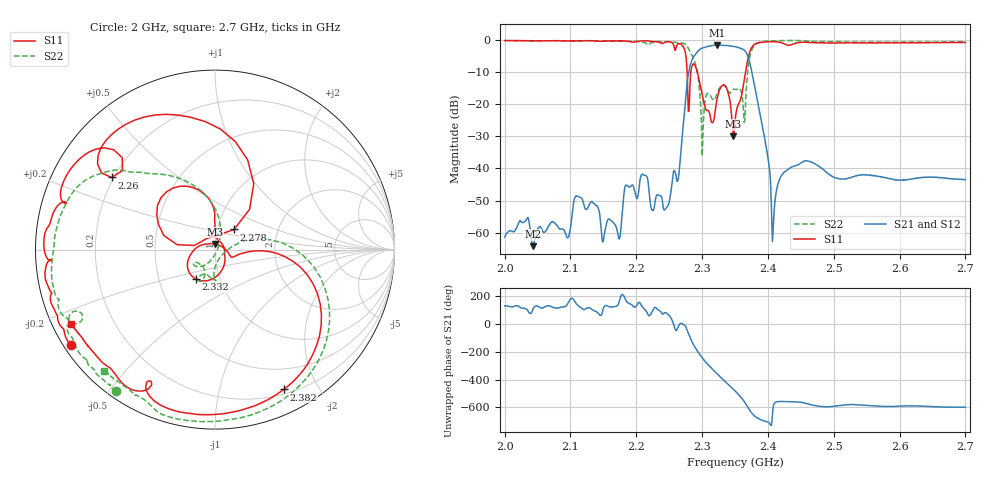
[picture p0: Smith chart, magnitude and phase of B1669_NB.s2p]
! Matrix data file written by TouchstoneData, EPCOS AG
! FILENAME: "LW96C.NB.2.snp"
! COMMENT: "(LW96C.NB.2.s2p)"
! INFO: nport=2, nfreq=801
! DATE: "Thu Dec 16 09:29:09 2010"
! USER: "TengKee Lok"
! port | pin | signal
!  1  |  2  |  input
!  2  |  5  |  output
# MHZ S RI R 50
! freq  reS11 imS11  reS21 imS21  reS12 imS12  reS22 imS22
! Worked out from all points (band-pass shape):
!   801 points, 2 GHz to 2.7 GHz, reference 50 ohm
!   highest |S21| = -1.68 dB at 2.323 GHz (marker M1); lowest = -64.2 dB at 2.043 GHz (marker M2)
!   |S21| within 3 dB of the highest: 2.29 GHz to 2.369 GHz (79.02 MHz wide, 3.39 % of centre)
!   lowest |S11| = -30.0 dB at 2.347 GHz (marker M3), VSWR 1.07, Z = 49.8 + j3.16 ohm
!   |S11| at or under -10 dB: 2.277211 GHz to 2.283003 GHz (5.792 MHz wide, 0.254 % of centre); 2.293 GHz to 2.366 GHz (73.48 MHz wide, 3.15 % of centre)
!   |S22| runs from -36.1 to -0.3 dB; largest |S21 - S12| = 0.0049
!   S11 on the Smith chart (normalised r, x): 2 GHz: 0.02, -0.30; 2.26 GHz: 0.19, +0.30; 2.278 GHz: 1.20, +0.28; 2.332 GHz: 0.77, -0.26; 2.382 GHz: 0.25, -1.58; 2.7 GHz: 0.05, -0.24
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2000  -0.8047 -0.5325  -0.000563 0.000644  -0.00056 0.000638  -0.5501 -0.7893
2042.875  -0.8381 -0.4651  -0.000162 0.000598  -0.000172 0.000594  -0.5882 -0.7531
2117.25  -0.9032 -0.3179  -0.00136 0.00314  -0.00136 0.00314  -0.6809 -0.6596
2150.5  -0.915 -0.236  -0.000401 0.000707  -0.0004 0.000709  -0.7186 -0.6109
2174.125  -0.9467 -0.1516  -0.00076 0.000257  -0.000766 0.00025  -0.7693 -0.5543
2185.5  -0.9406 -0.0896  -0.00519 0.0016  -0.00521 0.00158  -0.7816 -0.5171
2233.625  -0.88 0.2406  -0.000781 0.00376  -0.000809 0.00377  -0.8679 -0.3349
2259.875  -0.5765 0.4019  0.0059 -0.00574  0.00593 -0.00578  -0.9037 -0.0247
2278.25  0.1064 0.1126  0.1456 -0.2132  0.1474 -0.2126  -0.6291 0.4267
2294  -0.0288 0.276  -0.6166 0.2462  -0.6191 0.2431  -0.0164 0.2579
2300.125  0.000436 0.1412  -0.3408 0.6543  -0.3449 0.6536  0.0153 0.00315
2307.125  -0.0269 0.0747  0.1575 0.7542  0.1535 0.7563  -0.1077 -0.0922
2322.875  0.0387 -0.1138  0.8243 0.0202  0.8257 0.0244  -0.0564 -0.1346
2331.625  -0.1073 -0.1634  0.6441 -0.4987  0.6477 -0.4964  -0.0868 -0.1762
2347.375  -0.000588 0.0317  -0.2404 -0.7433  -0.2369 -0.746  -0.0198 -0.1673
2350  0.0524 0.00626  -0.3922 -0.6698  -0.3891 -0.6732  -0.0158 -0.1669
2368.375  0.4291 -0.0616  -0.3779 0.4534  -0.3811 0.4518  0.2475 0.0598
2382.375  0.3832 -0.7789  0.0918 0.1038  0.0912 0.1045  0.5466 -0.6671
2408.625  -0.2207 -0.8986  -0.0012 0.00109  -0.00121 0.00108  0.0213 -0.9558
2467.25  -0.5401 -0.7156  -0.009 0.00846  -0.00911 0.00838  -0.3683 -0.8578
2583.625  -0.7156 -0.5263  -0.00409 0.00559  -0.00415 0.00556  -0.5301 -0.7419
2700  -0.7999 -0.4164  -0.00351 0.00571  -0.00356 0.00571  -0.6189 -0.6764
